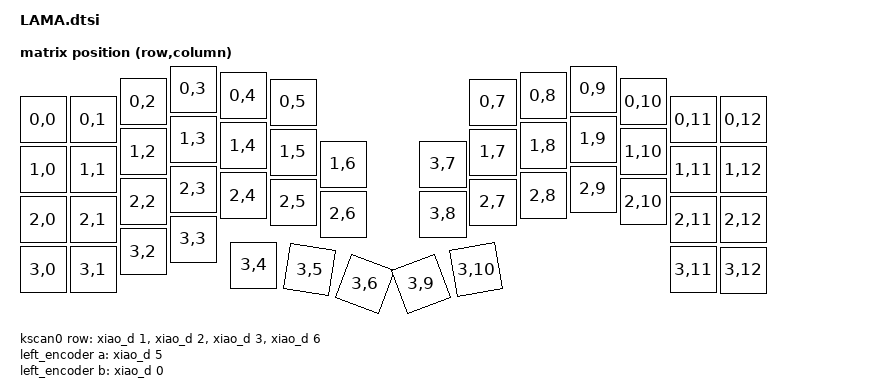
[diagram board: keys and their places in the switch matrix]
#include <dt-bindings/zmk/matrix_transform.h>
#include <physical_layouts.dtsi>

/ {
    chosen {
        zmk,physical-layout = &lama_physical_layout;
    };

    lama_physical_layout: lama_physical_layout {
        compatible = "zmk,physical-layout";
        display-name = "Default";
        transform = <&default_transform>;
        kscan = <&kscan0>;

        /* 座標はpcb/v2のroba_L / roba_R.kicad_pcbのスイッチ位置から算出(1u = 19.05mm)。
           R側はL側と左右対称になるよう平行移動している。 */
        keys  //                     w   h    x    y     rot    rx    ry
            = <&key_physical_attrs 100 100     0   61       0     0     0>
            , <&key_physical_attrs 100 100   100   61       0     0     0>
            , <&key_physical_attrs 100 100   200   25       0     0     0>
            , <&key_physical_attrs 100 100   300    0       0     0     0>
            , <&key_physical_attrs 100 100   400   13       0     0     0>
            , <&key_physical_attrs 100 100   500   26       0     0     0>

            , <&key_physical_attrs 100 100   900   26       0     0     0>
            , <&key_physical_attrs 100 100  1000   13       0     0     0>
            , <&key_physical_attrs 100 100  1100    0       0     0     0>
            , <&key_physical_attrs 100 100  1200   25       0     0     0>
            , <&key_physical_attrs 100 100  1300   61       0     0     0>
            , <&key_physical_attrs 100 100  1400   61       0     0     0>

            , <&key_physical_attrs 100 100     0  161       0     0     0>
            , <&key_physical_attrs 100 100   100  161       0     0     0>
            , <&key_physical_attrs 100 100   200  125       0     0     0>
            , <&key_physical_attrs 100 100   300  100       0     0     0>
            , <&key_physical_attrs 100 100   400  113       0     0     0>
            , <&key_physical_attrs 100 100   500  126       0     0     0>
            , <&key_physical_attrs 100 100   600  150       0     0     0>

            , <&key_physical_attrs 100 100   800  150       0     0     0>
            , <&key_physical_attrs 100 100   900  126       0     0     0>
            , <&key_physical_attrs 100 100  1000  113       0     0     0>
            , <&key_physical_attrs 100 100  1100  100       0     0     0>
            , <&key_physical_attrs 100 100  1200  125       0     0     0>
            , <&key_physical_attrs 100 100  1300  161       0     0     0>
            , <&key_physical_attrs 100 100  1400  161       0     0     0>

            , <&key_physical_attrs 100 100     0  261       0     0     0>
            , <&key_physical_attrs 100 100   100  261       0     0     0>
            , <&key_physical_attrs 100 100   200  225       0     0     0>
            , <&key_physical_attrs 100 100   300  200       0     0     0>
            , <&key_physical_attrs 100 100   400  213       0     0     0>
            , <&key_physical_attrs 100 100   500  226       0     0     0>
            , <&key_physical_attrs 100 100   600  250       0     0     0>

            , <&key_physical_attrs 100 100   800  250       0     0     0>
            , <&key_physical_attrs 100 100   900  226       0     0     0>
            , <&key_physical_attrs 100 100  1000  213       0     0     0>
            , <&key_physical_attrs 100 100  1100  200       0     0     0>
            , <&key_physical_attrs 100 100  1200  225       0     0     0>
            , <&key_physical_attrs 100 100  1300  261       0     0     0>
            , <&key_physical_attrs 100 100  1400  261       0     0     0>

            , <&key_physical_attrs 100 100     0  361       0     0     0>
            , <&key_physical_attrs 100 100   100  361       0     0     0>
            , <&key_physical_attrs 100 100   200  325       0     0     0>
            , <&key_physical_attrs 100 100   300  300       0     0     0>
            , <&key_physical_attrs 100 100   421  352       0     0     0>
            , <&key_physical_attrs 100 100   533  361     900   583   411>
            , <&key_physical_attrs 100 100   644  390    2000   694   440>

            , <&key_physical_attrs 100 100   756  390 (-2000)   806   440>
            , <&key_physical_attrs 100 100   866  361 (-1000)   916   411>
            , <&key_physical_attrs 100 100  1300  361       0     0     0>
            , <&key_physical_attrs 100 100  1400  362       0     0     0>
            ;
    };

    /* 列番号はPCBのネット名Col0-Col6(L)/Col0-Col5(R, col-offset=7で7-12)に一致させている。
       L: Col0=増設した小指列, Col1-5=Q-T列, Col6=内側列(row1はエンコーダ押し込み)
       R: Col0-4=Y-P列, Col5=増設した小指列。R側のrow3は内側キー(Col0,1)と親指(Col2,3)を兼ねる */
    default_transform: keymap_transform_0 {
        compatible = "zmk,matrix-transform";
        columns = <13>;
        rows = <4>;
        map = <
            RC(0,0) RC(0,1) RC(0,2) RC(0,3) RC(0,4) RC(0,5)                                     RC(0,7) RC(0,8) RC(0,9) RC(0,10) RC(0,11) RC(0,12)
            RC(1,0) RC(1,1) RC(1,2) RC(1,3) RC(1,4) RC(1,5) RC(1,6)                     RC(3,7) RC(1,7) RC(1,8) RC(1,9) RC(1,10) RC(1,11) RC(1,12)
            RC(2,0) RC(2,1) RC(2,2) RC(2,3) RC(2,4) RC(2,5) RC(2,6)                     RC(3,8) RC(2,7) RC(2,8) RC(2,9) RC(2,10) RC(2,11) RC(2,12)
            RC(3,0) RC(3,1) RC(3,2) RC(3,3) RC(3,4) RC(3,5) RC(3,6)                     RC(3,9) RC(3,10)                          RC(3,11) RC(3,12)
        >;
    };

    kscan0: kscan {
        compatible = "zmk,kscan-gpio-matrix";
        label = "KSCAN";
        diode-direction = "col2row";
            row-gpios
                = <&xiao_d 1 (GPIO_ACTIVE_HIGH | GPIO_PULL_DOWN)>
                , <&xiao_d 2 (GPIO_ACTIVE_HIGH | GPIO_PULL_DOWN)>
                , <&xiao_d 3 (GPIO_ACTIVE_HIGH | GPIO_PULL_DOWN)>
                , <&xiao_d 6 (GPIO_ACTIVE_HIGH | GPIO_PULL_DOWN)>
                ;
    };

    left_encoder: encoder_left {
        compatible = "alps,ec11";
        a-gpios = <&xiao_d 5 (GPIO_ACTIVE_HIGH | GPIO_PULL_UP)>;
        b-gpios = <&xiao_d 0 (GPIO_ACTIVE_HIGH | GPIO_PULL_UP)>;
        steps = <12>;
        status = "disabled";
    };

    right_encoder: encoder_right {
        status = "disabled";
    };

    sensors: sensors {
        compatible = "zmk,keymap-sensors";
        sensors = <&left_encoder &right_encoder>;
        triggers-per-rotation = <10>;
    };

    trackball_listener: trackball_listener {
        compatible = "zmk,input-listener";
        status = "disabled";
    };
};

&spi0 {
    status = "disabled";

    trackball: trackball@0 {
        status = "disabled";
        reg = <0>;
    };
};
